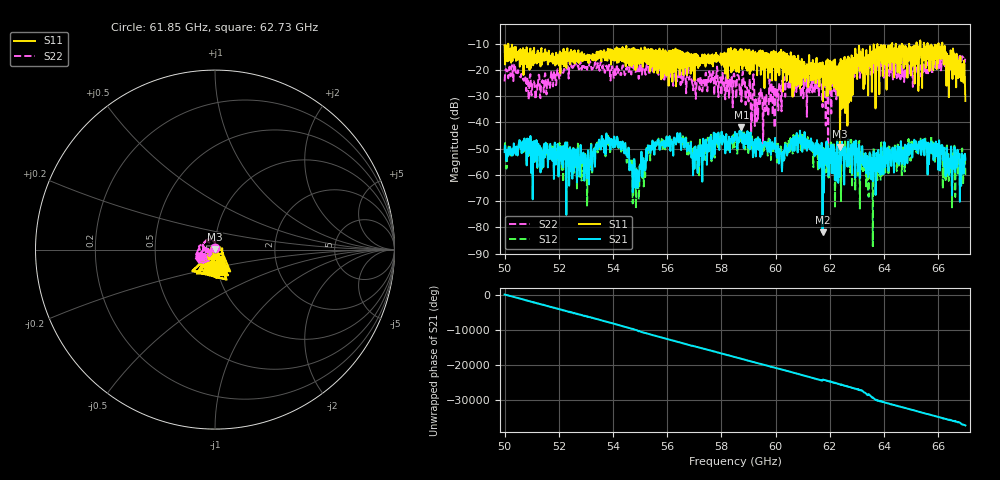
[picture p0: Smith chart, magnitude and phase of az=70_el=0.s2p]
!Created with skrf (http://scikit-rf.org).
# GHz S RI R 50.0
!freq ReS11 ImS11 ReS21 ImS21 ReS12 ImS12 ReS22 ImS22
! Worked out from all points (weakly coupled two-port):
!   1001 points, 50 GHz to 67 GHz, reference 50 ohm
!   highest |S21| = -41.87 dB at 58.74 GHz (marker M1); lowest = -81.9 dB at 61.73 GHz (marker M2)
!   lowest |S11| = -49.3 dB at 62.38 GHz (marker M3), VSWR 1.01, Z = 49.8 + j0.262 ohm
!   |S11| at or under -10 dB: start of sweep to 64.3 GHz; 64.3 GHz to 65.2 GHz (898.6 MHz wide, 1.39 % of centre); 66.15 GHz to end of sweep (the widest 3 of 8)
!   |S22| runs from -57.2 to -13.9 dB; largest |S21 - S12| = 0.0021
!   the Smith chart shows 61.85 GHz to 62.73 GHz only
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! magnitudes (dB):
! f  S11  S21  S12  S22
! 50 GHz  -10.6  -51.3  -50.4  -24.4
! 51.07 GHz  -12.9  -47.2  -47.8  -24.3
! 52.84 GHz  -14.9  -55.7  -62.2  -19.9
! 54.2 GHz  -17.1  -49.5  -49.7  -19.7
! 54.9 GHz  -12.3  -58.4  -59.1  -18.0
! 55.68 GHz  -14.3  -46.7  -46.2  -21.9
! 56.63 GHz  -16.7  -49.7  -47.8  -20.7
! 57.04 GHz  -15.6  -49.2  -50.3  -28.5
! 58.5 GHz  -19.6  -43.7  -45.0  -23.9
! 58.74 GHz  -15.4  -41.9  -42.0  -32.2
! 59.61 GHz  -13.7  -48.8  -48.7  -34.8
! 60.23 GHz  -17.1  -58.7  -54.5  -26.5
! 60.64 GHz  -14.8  -47.4  -48.1  -22.5
! 61.34 GHz  -23.8  -50.9  -50.5  -25.8
! 61.73 GHz  -17.1  -81.9  -63.0  -34.2
! 62 GHz  -16.5  -55.5  -54.3  -24.9
! 62.38 GHz  -49.3  -49.2  -51.0  -18.5
! 62.94 GHz  -11.9  -61.1  -65.6  -17.8
! 63.5 GHz  -14.7  -52.3  -52.9  -17.9
! 64.18 GHz  -17.3  -51.2  -48.9  -18.6
! 66.08 GHz  -15.9  -48.9  -50.8  -15.6
! 67 GHz  -31.9  -54.1  -60.8  -15.7
